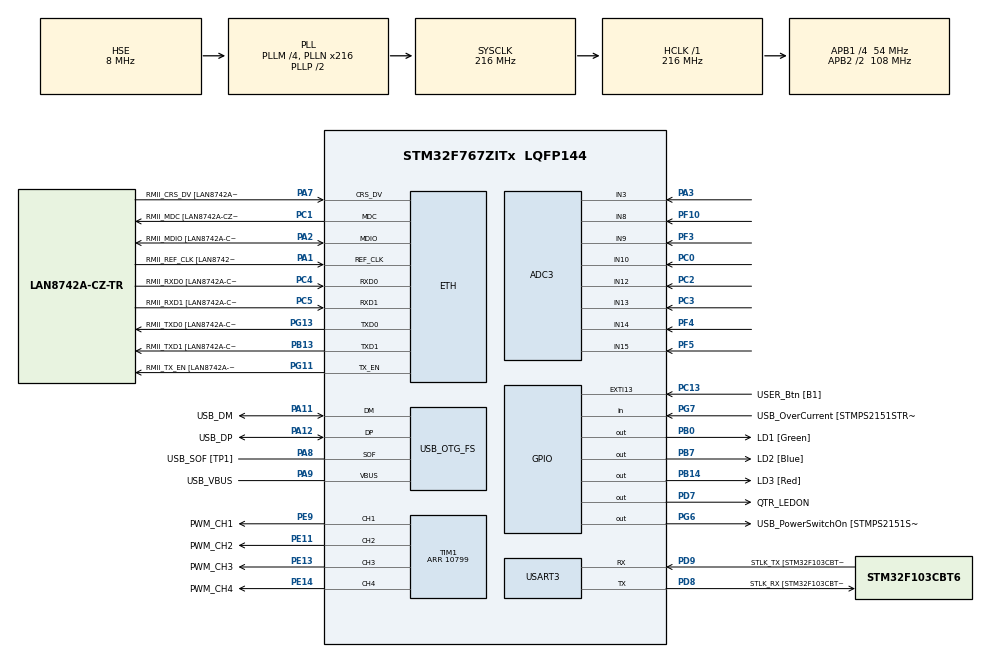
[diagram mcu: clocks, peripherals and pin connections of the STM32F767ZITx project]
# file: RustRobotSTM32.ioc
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ADC3.Channel-1\#ChannelRegularConversion=ADC_CHANNEL_3
ADC3.Channel-2\#ChannelRegularConversion=ADC_CHANNEL_10
ADC3.Channel-3\#ChannelRegularConversion=ADC_CHANNEL_13
ADC3.Channel-4\#ChannelRegularConversion=ADC_CHANNEL_9
ADC3.Channel-5\#ChannelRegularConversion=ADC_CHANNEL_15
ADC3.Channel-6\#ChannelRegularConversion=ADC_CHANNEL_8
ADC3.Channel-7\#ChannelRegularConversion=ADC_CHANNEL_12
ADC3.Channel-8\#ChannelRegularConversion=ADC_CHANNEL_14
ADC3.NbrOfConversion=8
ADC3.NbrOfConversionFlag=1
ADC3.Rank-1\#ChannelRegularConversion=1
ADC3.Rank-2\#ChannelRegularConversion=2
ADC3.Rank-3\#ChannelRegularConversion=3
ADC3.Rank-4\#ChannelRegularConversion=4
ADC3.Rank-5\#ChannelRegularConversion=5
ADC3.Rank-6\#ChannelRegularConversion=6
ADC3.Rank-7\#ChannelRegularConversion=7
ADC3.Rank-8\#ChannelRegularConversion=8
ADC3.SamplingTime-1\#ChannelRegularConversion=ADC_SAMPLETIME_144CYCLES
ADC3.SamplingTime-2\#ChannelRegularConversion=ADC_SAMPLETIME_144CYCLES
ADC3.SamplingTime-3\#ChannelRegularConversion=ADC_SAMPLETIME_144CYCLES
ADC3.SamplingTime-4\#ChannelRegularConversion=ADC_SAMPLETIME_144CYCLES
ADC3.SamplingTime-5\#ChannelRegularConversion=ADC_SAMPLETIME_144CYCLES
ADC3.SamplingTime-6\#ChannelRegularConversion=ADC_SAMPLETIME_144CYCLES
ADC3.SamplingTime-7\#ChannelRegularConversion=ADC_SAMPLETIME_144CYCLES
ADC3.SamplingTime-8\#ChannelRegularConversion=ADC_SAMPLETIME_144CYCLES
ADC3.ScanConvMode=ADC_SCAN_ENABLE
CORTEX_M7.default_mode_Activation=1
ETH.MediaInterface=HAL_ETH_RMII_MODE
ETH.PHY_Name=LAN8742A_PHY_ADDRESS
ETH.PHY_Value=0
ETH.PhyAddress=0
Mcu.Family=STM32F7
Mcu.Name=STM32F767ZITx
Mcu.Package=LQFP144
NVIC.PriorityGroup=NVIC_PRIORITYGROUP_4
PA1.GPIO_Label=RMII_REF_CLK [LAN8742A-CZ-TR_REFCLK0]
PA1.Mode=RMII
PA1.Signal=ETH_REF_CLK
PA10.GPIO_Label=USB_ID
PA10.Signal=USB_OTG_FS_ID
PA11.GPIO_Label=USB_DM
PA11.Mode=Device_Only
PA11.Signal=USB_OTG_FS_DM
PA12.GPIO_Label=USB_DP
PA12.Mode=Device_Only
PA12.Signal=USB_OTG_FS_DP
PA13.GPIO_Label=TMS
PA13.Mode=Serial_Wire
PA13.Signal=SYS_JTMS-SWDIO
PA14.GPIO_Label=TCK
PA14.Mode=Serial_Wire
PA14.Signal=SYS_JTCK-SWCLK
PA2.GPIO_Label=RMII_MDIO [LAN8742A-CZ-TR_MDIO]
PA2.Mode=RMII
PA2.Signal=ETH_MDIO
PA3.Signal=ADCx_IN3
PA7.GPIO_Label=RMII_CRS_DV [LAN8742A-CZ-TR_CRS_DV]
PA7.Mode=RMII
PA7.Signal=ETH_CRS_DV
PA8.GPIO_Label=USB_SOF [TP1]
PA8.Mode=Activate_SOF_FS
PA8.Signal=USB_OTG_FS_SOF
PA9.GPIO_Label=USB_VBUS
PA9.Mode=Activate_VBUS
PA9.Signal=USB_OTG_FS_VBUS
PB0.GPIO_Label=LD1 [Green]
PB0.Signal=GPIO_Output
PB13.GPIO_Label=RMII_TXD1 [LAN8742A-CZ-TR_TXD1]
PB13.Mode=RMII
PB13.Signal=ETH_TXD1
PB14.GPIO_Label=LD3 [Red]
PB14.Signal=GPIO_Output
PB3.GPIO_Label=SWO
PB3.Signal=SYS_JTDO-SWO
PB7.GPIO_Label=LD2 [Blue]
PB7.Signal=GPIO_Output
PC0.Signal=ADCx_IN10
PC1.GPIO_Label=RMII_MDC [LAN8742A-CZ-TR_MDC]
PC1.Mode=RMII
PC1.Signal=ETH_MDC
PC13.GPIO_Label=USER_Btn [B1]
PC13.Signal=GPXTI13
PC14/OSC32_IN.Mode=LSE-External-Oscillator
PC14/OSC32_IN.Signal=RCC_OSC32_IN
PC15/OSC32_OUT.Mode=LSE-External-Oscillator
PC15/OSC32_OUT.Signal=RCC_OSC32_OUT
PC2.Signal=ADCx_IN12
PC3.Signal=ADCx_IN13
PC4.GPIO_Label=RMII_RXD0 [LAN8742A-CZ-TR_RXD0]
PC4.Mode=RMII
PC4.Signal=ETH_RXD0
PC5.GPIO_Label=RMII_RXD1 [LAN8742A-CZ-TR_RXD1]
PC5.Mode=RMII
PC5.Signal=ETH_RXD1
PD7.GPIO_Label=QTR_LEDON
PD7.Signal=GPIO_Output
PD8.GPIO_Label=STLK_RX [STM32F103CBT6_PA3]
PD8.Mode=Asynchronous
PD8.Signal=USART3_TX
PD9.GPIO_Label=STLK_TX [STM32F103CBT6_PA2]
PD9.Mode=Asynchronous
PD9.Signal=USART3_RX
PE11.GPIO_Label=PWM_CH2
PE11.Signal=S_TIM1_CH2
PE13.GPIO_Label=PWM_CH3
PE13.Signal=S_TIM1_CH3
PE14.GPIO_Label=PWM_CH4
PE14.Signal=S_TIM1_CH4
PE9.GPIO_Label=PWM_CH1
PE9.Signal=S_TIM1_CH1
PF10.Mode=IN8
PF10.Signal=ADC3_IN8
PF3.Mode=IN9
PF3.Signal=ADC3_IN9
PF4.Mode=IN14
PF4.Signal=ADC3_IN14
PF5.Mode=IN15
PF5.Signal=ADC3_IN15
PG11.GPIO_Label=RMII_TX_EN [LAN8742A-CZ-TR_TXEN]
PG11.Mode=RMII
PG11.Signal=ETH_TX_EN
PG13.GPIO_Label=RMII_TXD0 [LAN8742A-CZ-TR_TXD0]
PG13.Mode=RMII
PG13.Signal=ETH_TXD0
PG6.GPIO_Label=USB_PowerSwitchOn [STMPS2151STR_EN]
PG6.Signal=GPIO_Output
PG7.GPIO_Label=USB_OverCurrent [STMPS2151STR_FAULT]
PG7.Signal=GPIO_Input
PH0/OSC_IN.GPIO_Label=MCO [STM32F103CBT6_PA8]
PH0/OSC_IN.Mode=HSE-External-Clock-Source
PH0/OSC_IN.Signal=RCC_OSC_IN
PH1/OSC_OUT.Mode=HSE-External-Clock-Source
PH1/OSC_OUT.Signal=RCC_OSC_OUT
ProjectManager.HeapSize=0x200
ProjectManager.StackSize=0x400
ProjectManager.TargetToolchain=STM32CubeIDE
RCC.48MHZClocksFreq_Value=24000000
RCC.AHBFreq_Value=216000000
RCC.APB1CLKDivider=RCC_HCLK_DIV4
RCC.APB1Freq_Value=54000000
RCC.APB1TimFreq_Value=108000000
RCC.APB2CLKDivider=RCC_HCLK_DIV2
RCC.APB2Freq_Value=108000000
RCC.APB2TimFreq_Value=216000000
RCC.CortexFreq_Value=216000000
RCC.HCLKFreq_Value=216000000
RCC.HSE_VALUE=8000000
RCC.HSI_VALUE=16000000
RCC.PLLM=4
RCC.PLLMUL=RCC_PLL_MUL9
RCC.PLLN=216
RCC.PLLQ=9
RCC.PRESCALERUSB=RCC_USBCLKSOURCE_PLL_DIV1_5
RCC.SYSCLKFreq_VALUE=216000000
RCC.SYSCLKSource=RCC_SYSCLKSOURCE_PLLCLK
RCC.SYSCLKSourceVirtual=RCC_SYSCLKSOURCE_PLLCLK
RCC.USBFreq_Value=48000000
RCC.VCOOutputFreq_Value=432000000
SH.ADCx_IN10.0=ADC3_IN10,IN10
SH.ADCx_IN12.0=ADC3_IN12,IN12
SH.ADCx_IN13.0=ADC3_IN13,IN13
SH.ADCx_IN3.0=ADC3_IN3,IN3
SH.S_TIM1_CH1.0=TIM1_CH1,PWM Generation1 CH1
SH.S_TIM1_CH2.0=TIM1_CH2,PWM Generation2 CH2
SH.S_TIM1_CH3.0=TIM1_CH3,PWM Generation3 CH3
SH.S_TIM1_CH4.0=TIM1_CH4,PWM Generation4 CH4
TIM1.AutoReloadPreload=TIM_AUTORELOAD_PRELOAD_ENABLE
TIM1.Channel-PWM\ Generation1\ CH1=TIM_CHANNEL_1
TIM1.Channel-PWM\ Generation2\ CH2=TIM_CHANNEL_2
TIM1.Channel-PWM\ Generation3\ CH3=TIM_CHANNEL_3
TIM1.Channel-PWM\ Generation4\ CH4=TIM_CHANNEL_4
TIM1.Period=10799
USART3.VirtualMode-Asynchronous=VM_ASYNC
USB_OTG_FS.VirtualMode=Device_Only
VP_TIM1_VS_ClockSourceINT.Mode=Internal
board=NUCLEO-F767ZI

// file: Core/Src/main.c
/* USER CODE BEGIN Header */
/**
  ******************************************************************************
  * @file           : main.c
  * @brief          : Main program body
  ******************************************************************************
  * @attention
  *
  * Copyright (c) 2026 STMicroelectronics.
  * All rights reserved.
  *
  * This software is licensed under terms that can be found in the LICENSE file
  * in the root directory of this software component.
  * If no LICENSE file comes with this software, it is provided AS-IS.
  *
  ******************************************************************************
  */
/* USER CODE END Header */
#include "main.h"
#include "string.h"

/* USER CODE BEGIN PD */
/* ---------- Pontes H ---------- */
#define EN_PORT     GPIOF
#define EN_PINS     (GPIO_PIN_12 | GPIO_PIN_13 | GPIO_PIN_14 | GPIO_PIN_15)  /* EN de H1..H4 */

/* Lado DIREITO (H1 + H2 em paralelo) */
#define CH_DIR_RPWM  TIM_CHANNEL_1   /* PE9  - RSRPWM -> RPWM de H1 e H2 */
#define CH_DIR_LPWM  TIM_CHANNEL_2   /* PE11 - RSLPWM -> LPWM de H1 e H2 */
/* Lado ESQUERDO (H3 + H4 em paralelo) */
#define CH_ESQ_RPWM  TIM_CHANNEL_3   /* PE13 - LSRPWM -> RPWM de H3 e H4 */
#define CH_ESQ_LPWM  TIM_CHANNEL_4   /* PE14 - LSLPWM -> LPWM de H3 e H4 */

/* Entrada que recebe PWM para ir para FRENTE em cada lado (a outra fica em 0).
   Para ir para TRAS o codigo inverte o par. */
#define DIR_FRENTE_PWM   CH_DIR_RPWM
#define DIR_FRENTE_ZERO  CH_DIR_LPWM
#define ESQ_FRENTE_PWM   CH_ESQ_LPWM
#define ESQ_FRENTE_ZERO  CH_ESQ_RPWM

/* ---------- Movimento ---------- */
#define DUTY_MOV        0.60f    /* 60% na ida e na volta */
#define RAMPA_MS        300U     /* partida suave 0 -> 60% */
#define TEMPO_MS        10000U   /* 10 s para frente e 10 s para tras */
#define PAUSA_MS        500U     /* parado antes de inverter (evita pico de corrente) */
/* USER CODE END PD */

#if defined ( __ICCARM__ ) /*!< IAR Compiler */
#pragma location=0x2007c000
ETH_DMADescTypeDef  DMARxDscrTab[ETH_RX_DESC_CNT]; /* Ethernet Rx DMA Descriptors */
#pragma location=0x2007c0a0
ETH_DMADescTypeDef  DMATxDscrTab[ETH_TX_DESC_CNT]; /* Ethernet Tx DMA Descriptors */

#elif defined ( __CC_ARM )  /* MDK ARM Compiler */

__attribute__((at(0x2007c000))) ETH_DMADescTypeDef  DMARxDscrTab[ETH_RX_DESC_CNT]; /* Ethernet Rx DMA Descriptors */
__attribute__((at(0x2007c0a0))) ETH_DMADescTypeDef  DMATxDscrTab[ETH_TX_DESC_CNT]; /* Ethernet Tx DMA Descriptors */

#elif defined ( __GNUC__ ) /* GNU Compiler */

ETH_DMADescTypeDef DMARxDscrTab[ETH_RX_DESC_CNT] __attribute__((section(".RxDecripSection"))); /* Ethernet Rx DMA Descriptors */
ETH_DMADescTypeDef DMATxDscrTab[ETH_TX_DESC_CNT] __attribute__((section(".TxDecripSection")));   /* Ethernet Tx DMA Descriptors */
#endif

ETH_TxPacketConfig TxConfig;

ADC_HandleTypeDef hadc3;

ETH_HandleTypeDef heth;

TIM_HandleTypeDef htim1;

UART_HandleTypeDef huart3;

PCD_HandleTypeDef hpcd_USB_OTG_FS;

void SystemClock_Config(void);
static void MPU_Config(void);
static void MX_GPIO_Init(void);
static void MX_ETH_Init(void);
static void MX_TIM1_Init(void);
static void MX_USART3_UART_Init(void);
static void MX_USB_OTG_FS_PCD_Init(void);
static void MX_ADC3_Init(void);
/* USER CODE BEGIN PFP */
static void Motores_Init(void);
static void Motores_Mover(int sentido, float duty);
static void Andar(int sentido, uint32_t tempo_ms);
/* USER CODE END PFP */

/* USER CODE BEGIN 0 */
static const uint32_t canais_pwm[4] = {
  CH_DIR_RPWM, CH_DIR_LPWM, CH_ESQ_RPWM, CH_ESQ_LPWM
};

/* Configura os EN (PF12-PF15), liga os 4 canais do TIM1 com duty 0 e habilita as pontes */
static void Motores_Init(void)
{
  GPIO_InitTypeDef g = {0};

  HAL_GPIO_WritePin(EN_PORT, EN_PINS, GPIO_PIN_RESET);   /* pontes desligadas durante a configuracao */
  g.Pin   = EN_PINS;
  g.Mode  = GPIO_MODE_OUTPUT_PP;
  g.Pull  = GPIO_NOPULL;
  g.Speed = GPIO_SPEED_FREQ_LOW;
  HAL_GPIO_Init(EN_PORT, &g);                             /* clock do GPIOF ja ligado no MX_GPIO_Init */

  for (int i = 0; i < 4; i++) {
    __HAL_TIM_SET_COMPARE(&htim1, canais_pwm[i], 0);
    HAL_TIM_PWM_Start(&htim1, canais_pwm[i]);             /* tambem liga o MOE do TIM1 */
  }

  HAL_GPIO_WritePin(EN_PORT, EN_PINS, GPIO_PIN_SET);      /* EN = 1 nas 4 pontes */
}

/* sentido: +1 = frente, -1 = tras, 0 = parar (freio: RPWM = LPWM = 0 com EN = 1)
   duty: 0.0 a 1.0, igual nos dois lados */
static void Motores_Mover(int sentido, float duty)
{
  if (duty < 0.0f) duty = 0.0f;
  if (duty > 1.0f) duty = 1.0f;

  uint32_t ccr = (uint32_t)(duty * (float)(__HAL_TIM_GET_AUTORELOAD(&htim1) + 1U));

  for (int i = 0; i < 4; i++) {
    __HAL_TIM_SET_COMPARE(&htim1, canais_pwm[i], 0);
  }

  if (sentido > 0) {
    __HAL_TIM_SET_COMPARE(&htim1, DIR_FRENTE_PWM, ccr);
    __HAL_TIM_SET_COMPARE(&htim1, ESQ_FRENTE_PWM, ccr);
  } else if (sentido < 0) {
    __HAL_TIM_SET_COMPARE(&htim1, DIR_FRENTE_ZERO, ccr);   /* par invertido = tras */
    __HAL_TIM_SET_COMPARE(&htim1, ESQ_FRENTE_ZERO, ccr);
  }
}

/* Anda no sentido pedido por tempo_ms, com partida suave, e para no fim */
static void Andar(int sentido, uint32_t tempo_ms)
{
  uint32_t t0 = HAL_GetTick();
  uint32_t dt;

  while ((dt = HAL_GetTick() - t0) < tempo_ms) {
    float duty = (dt >= RAMPA_MS) ? DUTY_MOV : DUTY_MOV * (float)dt / (float)RAMPA_MS;
    Motores_Mover(sentido, duty);
    HAL_Delay(1);
  }
  Motores_Mover(0, 0.0f);
}
/* USER CODE END 0 */

int main(void)
{

  /* MPU Configuration--------------------------------------------------------*/
  MPU_Config();

  /* MCU Configuration--------------------------------------------------------*/

  /* Reset of all peripherals, Initializes the Flash interface and the Systick. */
  HAL_Init();

  /* Configure the system clock */
  SystemClock_Config();

  /* Initialize all configured peripherals */
  MX_GPIO_Init();
  MX_ETH_Init();
  MX_TIM1_Init();
  MX_USART3_UART_Init();
  MX_USB_OTG_FS_PCD_Init();
  MX_ADC3_Init();
  /* USER CODE BEGIN 2 */
  Motores_Init();                                     /* EN = 1, PWM = 0 (parado) */
  HAL_Delay(1000);                                    /* 1 s depois de ligar, para tirar a mao */

  HAL_GPIO_WritePin(GPIOB, LD2_Pin, GPIO_PIN_SET);    /* azul = frente */
  Andar(+1, TEMPO_MS);                                /* 10 s para frente */
  HAL_GPIO_WritePin(GPIOB, LD2_Pin, GPIO_PIN_RESET);

  HAL_Delay(PAUSA_MS);                                /* parado 0,5 s antes de inverter */

  HAL_GPIO_WritePin(GPIOB, LD3_Pin, GPIO_PIN_SET);    /* vermelho = tras */
  Andar(-1, TEMPO_MS);                                /* 10 s para tras */
  HAL_GPIO_WritePin(GPIOB, LD3_Pin, GPIO_PIN_RESET);

  HAL_GPIO_WritePin(GPIOB, LD1_Pin, GPIO_PIN_SET);    /* verde = terminou */
  /* USER CODE END 2 */

  /* Infinite loop */
  while (1)
  {

  }
}

void SystemClock_Config(void)
{
  RCC_OscInitTypeDef RCC_OscInitStruct = {0};
  RCC_ClkInitTypeDef RCC_ClkInitStruct = {0};

  /** Configure LSE Drive Capability
  */
  HAL_PWR_EnableBkUpAccess();

  /** Configure the main internal regulator output voltage
  */
  __HAL_RCC_PWR_CLK_ENABLE();
  __HAL_PWR_VOLTAGESCALING_CONFIG(PWR_REGULATOR_VOLTAGE_SCALE1);

  /** Initializes the RCC Oscillators according to the specified parameters
  * in the RCC_OscInitTypeDef structure.
  */
  RCC_OscInitStruct.OscillatorType = RCC_OSCILLATORTYPE_HSE;
  RCC_OscInitStruct.HSEState = RCC_HSE_BYPASS;
  RCC_OscInitStruct.PLL.PLLState = RCC_PLL_ON;
  RCC_OscInitStruct.PLL.PLLSource = RCC_PLLSOURCE_HSE;
  RCC_OscInitStruct.PLL.PLLM = 4;
  RCC_OscInitStruct.PLL.PLLN = 216;
  RCC_OscInitStruct.PLL.PLLP = RCC_PLLP_DIV2;
  RCC_OscInitStruct.PLL.PLLQ = 9;
  RCC_OscInitStruct.PLL.PLLR = 2;
  if (HAL_RCC_OscConfig(&RCC_OscInitStruct) != HAL_OK)
  {
    Error_Handler();
  }

  /** Activate the Over-Drive mode
  */
  if (HAL_PWREx_EnableOverDrive() != HAL_OK)
  {
    Error_Handler();
  }

  /** Initializes the CPU, AHB and APB buses clocks
  */
  RCC_ClkInitStruct.ClockType = RCC_CLOCKTYPE_HCLK|RCC_CLOCKTYPE_SYSCLK
                              |RCC_CLOCKTYPE_PCLK1|RCC_CLOCKTYPE_PCLK2;
  RCC_ClkInitStruct.SYSCLKSource = RCC_SYSCLKSOURCE_PLLCLK;
  RCC_ClkInitStruct.AHBCLKDivider = RCC_SYSCLK_DIV1;
  RCC_ClkInitStruct.APB1CLKDivider = RCC_HCLK_DIV4;
  RCC_ClkInitStruct.APB2CLKDivider = RCC_HCLK_DIV2;

  if (HAL_RCC_ClockConfig(&RCC_ClkInitStruct, FLASH_LATENCY_7) != HAL_OK)
  {
    Error_Handler();
  }
}

static void MX_ADC3_Init(void)
{

  ADC_ChannelConfTypeDef sConfig = {0};

  /** Configure the global features of the ADC (Clock, Resolution, Data Alignment and number of conversion)
  */
  hadc3.Instance = ADC3;
  hadc3.Init.ClockPrescaler = ADC_CLOCK_SYNC_PCLK_DIV4;
  hadc3.Init.Resolution = ADC_RESOLUTION_12B;
  hadc3.Init.ScanConvMode = ADC_SCAN_ENABLE;
  hadc3.Init.ContinuousConvMode = DISABLE;
  hadc3.Init.DiscontinuousConvMode = DISABLE;
  hadc3.Init.ExternalTrigConvEdge = ADC_EXTERNALTRIGCONVEDGE_NONE;
  hadc3.Init.ExternalTrigConv = ADC_SOFTWARE_START;
  hadc3.Init.DataAlign = ADC_DATAALIGN_RIGHT;
  hadc3.Init.NbrOfConversion = 8;
  hadc3.Init.DMAContinuousRequests = DISABLE;
  hadc3.Init.EOCSelection = ADC_EOC_SINGLE_CONV;
  if (HAL_ADC_Init(&hadc3) != HAL_OK)
  {
    Error_Handler();
  }

  /** Configure for the selected ADC regular channel its corresponding rank in the sequencer and its sample time.
  */
  sConfig.Channel = ADC_CHANNEL_3;
  sConfig.Rank = ADC_REGULAR_RANK_1;
  sConfig.SamplingTime = ADC_SAMPLETIME_144CYCLES;
  if (HAL_ADC_ConfigChannel(&hadc3, &sConfig) != HAL_OK)
  {
    Error_Handler();
  }

  /** Configure for the selected ADC regular channel its corresponding rank in the sequencer and its sample time.
  */
  sConfig.Channel = ADC_CHANNEL_10;
  sConfig.Rank = ADC_REGULAR_RANK_2;
  if (HAL_ADC_ConfigChannel(&hadc3, &sConfig) != HAL_OK)
  {
    Error_Handler();
  }

  /** Configure for the selected ADC regular channel its corresponding rank in the sequencer and its sample time.
  */
  sConfig.Channel = ADC_CHANNEL_13;
  sConfig.Rank = ADC_REGULAR_RANK_3;
  if (HAL_ADC_ConfigChannel(&hadc3, &sConfig) != HAL_OK)
  {
    Error_Handler();
  }

  /** Configure for the selected ADC regular channel its corresponding rank in the sequencer and its sample time.
  */
  sConfig.Channel = ADC_CHANNEL_9;
  sConfig.Rank = ADC_REGULAR_RANK_4;
  if (HAL_ADC_ConfigChannel(&hadc3, &sConfig) != HAL_OK)
  {
    Error_Handler();
  }

  /** Configure for the selected ADC regular channel its corresponding rank in the sequencer and its sample time.
  */
  sConfig.Channel = ADC_CHANNEL_15;
  sConfig.Rank = ADC_REGULAR_RANK_5;
  if (HAL_ADC_ConfigChannel(&hadc3, &sConfig) != HAL_OK)
  {
    Error_Handler();
  }

  /** Configure for the selected ADC regular channel its corresponding rank in the sequencer and its sample time.
  */
  sConfig.Channel = ADC_CHANNEL_8;
  sConfig.Rank = ADC_REGULAR_RANK_6;
  if (HAL_ADC_ConfigChannel(&hadc3, &sConfig) != HAL_OK)
  {
    Error_Handler();
  }

  /** Configure for the selected ADC regular channel its corresponding rank in the sequencer and its sample time.
  */
  sConfig.Channel = ADC_CHANNEL_12;
  sConfig.Rank = ADC_REGULAR_RANK_7;
  if (HAL_ADC_ConfigChannel(&hadc3, &sConfig) != HAL_OK)
  {
    Error_Handler();
  }

  /** Configure for the selected ADC regular channel its corresponding rank in the sequencer and its sample time.
  */
  sConfig.Channel = ADC_CHANNEL_14;
  sConfig.Rank = ADC_REGULAR_RANK_8;
  if (HAL_ADC_ConfigChannel(&hadc3, &sConfig) != HAL_OK)
  {
    Error_Handler();
  }

}

static void MX_ETH_Init(void)
{

   static uint8_t MACAddr[6];

  heth.Instance = ETH;
  MACAddr[0] = 0x00;
  MACAddr[1] = 0x80;
  MACAddr[2] = 0xE1;
  MACAddr[3] = 0x00;
  MACAddr[4] = 0x00;
  MACAddr[5] = 0x00;
  heth.Init.MACAddr = &MACAddr[0];
  heth.Init.MediaInterface = HAL_ETH_RMII_MODE;
  heth.Init.TxDesc = DMATxDscrTab;
  heth.Init.RxDesc = DMARxDscrTab;
  heth.Init.RxBuffLen = 1524;

  if (HAL_ETH_Init(&heth) != HAL_OK)
  {
    Error_Handler();
  }

  memset(&TxConfig, 0 , sizeof(ETH_TxPacketConfig));
  TxConfig.Attributes = ETH_TX_PACKETS_FEATURES_CSUM | ETH_TX_PACKETS_FEATURES_CRCPAD;
  TxConfig.ChecksumCtrl = ETH_CHECKSUM_IPHDR_PAYLOAD_INSERT_PHDR_CALC;
  TxConfig.CRCPadCtrl = ETH_CRC_PAD_INSERT;

}

static void MX_TIM1_Init(void)
{

  TIM_ClockConfigTypeDef sClockSourceConfig = {0};
  TIM_MasterConfigTypeDef sMasterConfig = {0};
  TIM_OC_InitTypeDef sConfigOC = {0};
  TIM_BreakDeadTimeConfigTypeDef sBreakDeadTimeConfig = {0};

  htim1.Instance = TIM1;
  htim1.Init.Prescaler = 0;
  htim1.Init.CounterMode = TIM_COUNTERMODE_UP;
  htim1.Init.Period = 10799;
  htim1.Init.ClockDivision = TIM_CLOCKDIVISION_DIV1;
  htim1.Init.RepetitionCounter = 0;
  htim1.Init.AutoReloadPreload = TIM_AUTORELOAD_PRELOAD_ENABLE;
  if (HAL_TIM_Base_Init(&htim1) != HAL_OK)
  {
    Error_Handler();
  }
  sClockSourceConfig.ClockSource = TIM_CLOCKSOURCE_INTERNAL;
  if (HAL_TIM_ConfigClockSource(&htim1, &sClockSourceConfig) != HAL_OK)
  {
    Error_Handler();
  }
  if (HAL_TIM_PWM_Init(&htim1) != HAL_OK)
  {
    Error_Handler();
  }
  sMasterConfig.MasterOutputTrigger = TIM_TRGO_RESET;
  sMasterConfig.MasterOutputTrigger2 = TIM_TRGO2_RESET;
  sMasterConfig.MasterSlaveMode = TIM_MASTERSLAVEMODE_DISABLE;
  if (HAL_TIMEx_MasterConfigSynchronization(&htim1, &sMasterConfig) != HAL_OK)
  {
    Error_Handler();
  }
  sConfigOC.OCMode = TIM_OCMODE_PWM1;
  sConfigOC.Pulse = 0;
  sConfigOC.OCPolarity = TIM_OCPOLARITY_HIGH;
  sConfigOC.OCNPolarity = TIM_OCNPOLARITY_HIGH;
  sConfigOC.OCFastMode = TIM_OCFAST_DISABLE;
  sConfigOC.OCIdleState = TIM_OCIDLESTATE_RESET;
  sConfigOC.OCNIdleState = TIM_OCNIDLESTATE_RESET;
  if (HAL_TIM_PWM_ConfigChannel(&htim1, &sConfigOC, TIM_CHANNEL_1) != HAL_OK)
  {
    Error_Handler();
  }
  if (HAL_TIM_PWM_ConfigChannel(&htim1, &sConfigOC, TIM_CHANNEL_2) != HAL_OK)
  {
    Error_Handler();
  }
  if (HAL_TIM_PWM_ConfigChannel(&htim1, &sConfigOC, TIM_CHANNEL_3) != HAL_OK)
  {
    Error_Handler();
  }
  if (HAL_TIM_PWM_ConfigChannel(&htim1, &sConfigOC, TIM_CHANNEL_4) != HAL_OK)
  {
    Error_Handler();
  }
  sBreakDeadTimeConfig.OffStateRunMode = TIM_OSSR_DISABLE;
  sBreakDeadTimeConfig.OffStateIDLEMode = TIM_OSSI_DISABLE;
  sBreakDeadTimeConfig.LockLevel = TIM_LOCKLEVEL_OFF;
  sBreakDeadTimeConfig.DeadTime = 0;
  sBreakDeadTimeConfig.BreakState = TIM_BREAK_DISABLE;
  sBreakDeadTimeConfig.BreakPolarity = TIM_BREAKPOLARITY_HIGH;
  sBreakDeadTimeConfig.BreakFilter = 0;
  sBreakDeadTimeConfig.Break2State = TIM_BREAK2_DISABLE;
  sBreakDeadTimeConfig.Break2Polarity = TIM_BREAK2POLARITY_HIGH;
  sBreakDeadTimeConfig.Break2Filter = 0;
  sBreakDeadTimeConfig.AutomaticOutput = TIM_AUTOMATICOUTPUT_DISABLE;
  if (HAL_TIMEx_ConfigBreakDeadTime(&htim1, &sBreakDeadTimeConfig) != HAL_OK)
  {
    Error_Handler();
  }
  HAL_TIM_MspPostInit(&htim1);

}

static void MX_USART3_UART_Init(void)
{

  huart3.Instance = USART3;
  huart3.Init.BaudRate = 115200;
  huart3.Init.WordLength = UART_WORDLENGTH_8B;
  huart3.Init.StopBits = UART_STOPBITS_1;
  huart3.Init.Parity = UART_PARITY_NONE;
  huart3.Init.Mode = UART_MODE_TX_RX;
  huart3.Init.HwFlowCtl = UART_HWCONTROL_NONE;
  huart3.Init.OverSampling = UART_OVERSAMPLING_16;
  huart3.Init.OneBitSampling = UART_ONE_BIT_SAMPLE_DISABLE;
  huart3.AdvancedInit.AdvFeatureInit = UART_ADVFEATURE_NO_INIT;
  if (HAL_UART_Init(&huart3) != HAL_OK)
  {
    Error_Handler();
  }

}

static void MX_USB_OTG_FS_PCD_Init(void)
{

  hpcd_USB_OTG_FS.Instance = USB_OTG_FS;
  hpcd_USB_OTG_FS.Init.dev_endpoints = 6;
  hpcd_USB_OTG_FS.Init.speed = PCD_SPEED_FULL;
  hpcd_USB_OTG_FS.Init.dma_enable = DISABLE;
  hpcd_USB_OTG_FS.Init.phy_itface = PCD_PHY_EMBEDDED;
  hpcd_USB_OTG_FS.Init.Sof_enable = ENABLE;
  hpcd_USB_OTG_FS.Init.low_power_enable = DISABLE;
  hpcd_USB_OTG_FS.Init.lpm_enable = DISABLE;
  hpcd_USB_OTG_FS.Init.vbus_sensing_enable = ENABLE;
  hpcd_USB_OTG_FS.Init.use_dedicated_ep1 = DISABLE;
  if (HAL_PCD_Init(&hpcd_USB_OTG_FS) != HAL_OK)
  {
    Error_Handler();
  }

}

static void MX_GPIO_Init(void)
{
  GPIO_InitTypeDef GPIO_InitStruct = {0};

  /* GPIO Ports Clock Enable */
  __HAL_RCC_GPIOC_CLK_ENABLE();
  __HAL_RCC_GPIOF_CLK_ENABLE();
  __HAL_RCC_GPIOH_CLK_ENABLE();
  __HAL_RCC_GPIOA_CLK_ENABLE();
  __HAL_RCC_GPIOB_CLK_ENABLE();
  __HAL_RCC_GPIOE_CLK_ENABLE();
  __HAL_RCC_GPIOD_CLK_ENABLE();
  __HAL_RCC_GPIOG_CLK_ENABLE();

  /*Configure GPIO pin Output Level */
  HAL_GPIO_WritePin(GPIOB, LD1_Pin|LD3_Pin|LD2_Pin, GPIO_PIN_RESET);

  /*Configure GPIO pin Output Level */
  HAL_GPIO_WritePin(USB_PowerSwitchOn_GPIO_Port, USB_PowerSwitchOn_Pin, GPIO_PIN_RESET);

  /*Configure GPIO pin Output Level */
  HAL_GPIO_WritePin(QTR_LEDON_GPIO_Port, QTR_LEDON_Pin, GPIO_PIN_RESET);

  /*Configure GPIO pin : USER_Btn_Pin */
  GPIO_InitStruct.Pin = USER_Btn_Pin;
  GPIO_InitStruct.Mode = GPIO_MODE_IT_RISING;
  GPIO_InitStruct.Pull = GPIO_NOPULL;
  HAL_GPIO_Init(USER_Btn_GPIO_Port, &GPIO_InitStruct);

  /*Configure GPIO pins : LD1_Pin LD3_Pin LD2_Pin */
  GPIO_InitStruct.Pin = LD1_Pin|LD3_Pin|LD2_Pin;
  GPIO_InitStruct.Mode = GPIO_MODE_OUTPUT_PP;
  GPIO_InitStruct.Pull = GPIO_NOPULL;
  GPIO_InitStruct.Speed = GPIO_SPEED_FREQ_LOW;
  HAL_GPIO_Init(GPIOB, &GPIO_InitStruct);

  /*Configure GPIO pin : USB_PowerSwitchOn_Pin */
  GPIO_InitStruct.Pin = USB_PowerSwitchOn_Pin;
  GPIO_InitStruct.Mode = GPIO_MODE_OUTPUT_PP;
  GPIO_InitStruct.Pull = GPIO_NOPULL;
  GPIO_InitStruct.Speed = GPIO_SPEED_FREQ_LOW;
  HAL_GPIO_Init(USB_PowerSwitchOn_GPIO_Port, &GPIO_InitStruct);

  /*Configure GPIO pin : USB_OverCurrent_Pin */
  GPIO_InitStruct.Pin = USB_OverCurrent_Pin;
  GPIO_InitStruct.Mode = GPIO_MODE_INPUT;
  GPIO_InitStruct.Pull = GPIO_NOPULL;
  HAL_GPIO_Init(USB_OverCurrent_GPIO_Port, &GPIO_InitStruct);

  /*Configure GPIO pin : QTR_LEDON_Pin */
  GPIO_InitStruct.Pin = QTR_LEDON_Pin;
  GPIO_InitStruct.Mode = GPIO_MODE_OUTPUT_PP;
  GPIO_InitStruct.Pull = GPIO_NOPULL;
  GPIO_InitStruct.Speed = GPIO_SPEED_FREQ_LOW;
  HAL_GPIO_Init(QTR_LEDON_GPIO_Port, &GPIO_InitStruct);

}

 /* MPU Configuration */

void MPU_Config(void)
{
  MPU_Region_InitTypeDef MPU_InitStruct = {0};

  /* Disables the MPU */
  HAL_MPU_Disable();

  /** Initializes and configures the Region and the memory to be protected
  */
  MPU_InitStruct.Enable = MPU_REGION_ENABLE;
  MPU_InitStruct.Number = MPU_REGION_NUMBER0;
  MPU_InitStruct.BaseAddress = 0x0;
  MPU_InitStruct.Size = MPU_REGION_SIZE_4GB;
  MPU_InitStruct.SubRegionDisable = 0x87;
  MPU_InitStruct.TypeExtField = MPU_TEX_LEVEL0;
  MPU_InitStruct.AccessPermission = MPU_REGION_NO_ACCESS;
  MPU_InitStruct.DisableExec = MPU_INSTRUCTION_ACCESS_DISABLE;
  MPU_InitStruct.IsShareable = MPU_ACCESS_SHAREABLE;
  MPU_InitStruct.IsCacheable = MPU_ACCESS_NOT_CACHEABLE;
  MPU_InitStruct.IsBufferable = MPU_ACCESS_NOT_BUFFERABLE;

  HAL_MPU_ConfigRegion(&MPU_InitStruct);
  /* Enables the MPU */
  HAL_MPU_Enable(MPU_PRIVILEGED_DEFAULT);

}

void Error_Handler(void)
{
  __disable_irq();
  while (1)
  {
  }
}
